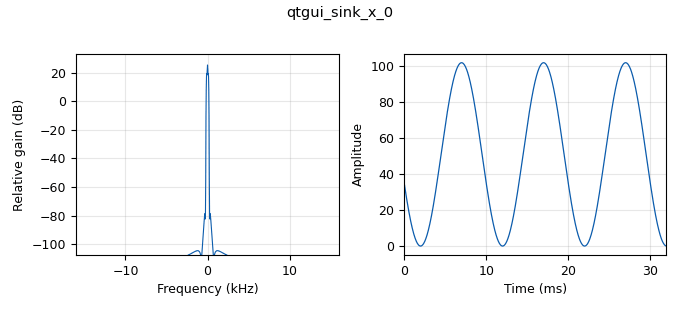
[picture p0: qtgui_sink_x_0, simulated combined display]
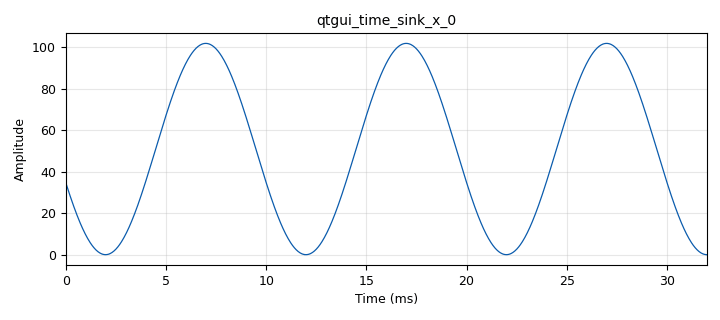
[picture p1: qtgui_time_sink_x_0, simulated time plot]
options:
  parameters:
    generate_options: qt_gui
    id: untitled
    output_language: python
    title: Not titled yet
  states: {}

blocks:
- name: samp_rate
  id: variable
  parameters:
    value: '32000'
  states: {}
- name: analog_const_source_x_0
  id: analog_const_source_x
  parameters:
    const: '1'
    type: float
  states: {state: disabled}
- name: analog_sig_source_x_0
  id: analog_sig_source_x
  parameters:
    amp: '1'
    freq: '100'
    offset: '0'
    phase: '0'
    samp_rate: samp_rate
    type: float
    waveform: analog.GR_SIN_WAVE
  states: {}
- name: blocks_vector_source_x_0
  id: blocks_vector_source_x
  parameters:
    repeat: 'True'
    type: float
    vector: (1, 1, 1)
  states: {state: disabled}
- name: epy_block_0
  id: epy_block
  parameters:
    _source_code: |
      import numpy as np
      from gnuradio import gr

      class blk(gr.sync_block):  
          def __init__(self):
              gr.sync_block.__init__(
                  self,
                  name='e_Acum',
                  in_sig=[np.float32],   # Ajusta tipo si es complejo
                  out_sig=[np.float32]
              )
              
              self.acum = 0.0  # Variable de estado (memoria)

          def work(self, input_items, output_items):
              in0 = input_items[0]
              out = output_items[0]

              for i in range(len(in0)):
                  self.acum += in0[i]
                  out[i] = self.acum

              return len(out)
  states: {}
- name: qtgui_sink_x_0
  id: qtgui_sink_x
  parameters:
    bw: samp_rate
    fc: '0'
    fftsize: '1024'
    type: float
  states: {}
- name: qtgui_time_sink_x_0
  id: qtgui_time_sink_x
  parameters:
    autoscale: 'True'
    size: '1024'
    srate: samp_rate
    type: float
    update_time: '10'
  states: {}

connections:
- [analog_const_source_x_0, '0', epy_block_0, '0']
- [analog_sig_source_x_0, '0', epy_block_0, '0']
- [blocks_vector_source_x_0, '0', epy_block_0, '0']
- [epy_block_0, '0', qtgui_sink_x_0, '0']
- [epy_block_0, '0', qtgui_time_sink_x_0, '0']

metadata:
  file_format: 1
  grc_version: 3.10.10.0
